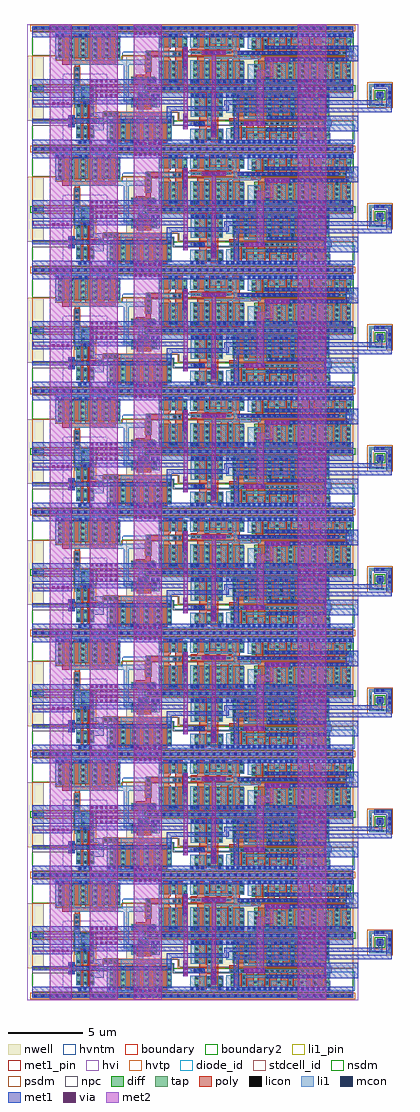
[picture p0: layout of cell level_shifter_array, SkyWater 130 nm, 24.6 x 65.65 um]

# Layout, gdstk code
import gdstk
lib = gdstk.Library(unit=1e-6, precision=1e-09)
def R(c, l, rs):  # rectangles x0, y0, x1, y1
    for r in rs: c.add(gdstk.rectangle(r[:2], r[2:], *l))
def A(c, l, x, y, w, h, nx, ny, dx, dy):  # array of equal rectangles
    R(c, l, [(x+i*dx, y+j*dy, x+i*dx+w, y+j*dy+h) for i in range(nx) for j in range(ny)])
def P(c, l, *ps):  # polygons
    for p in ps: c.add(gdstk.Polygon(p, *l))
nwell = (64, 20)
diff = (65, 20)
tap = (65, 44)
poly = (66, 20)
licon = (66, 44)
li1_pin = (67, 16)
li1 = (67, 20)
mcon = (67, 44)
met1_pin = (68, 16)
met1 = (68, 20)
via = (68, 44)
met2 = (69, 20)
hvi = (75, 20)
hvtp = (78, 44)
stdcell_id = (81, 4)
diode_id = (81, 23)
nsdm = (93, 44)
psdm = (94, 20)
npc = (95, 20)
hvntm = (125, 20)
boundary = (235, 4)
boundary2 = (236, 0)

sky130_fd_sc_hvl__lsbufl = lib.new_cell('sky130_fd_sc_hvl__lsbuflv2hv_1')
R(sky130_fd_sc_hvl__lsbufl, nwell, [(-0.33,1.885,0.8,6.255), (2.8,2.015,4.335,4.325)])
P(sky130_fd_sc_hvl__lsbufl, nwell, [(10.89,6.255),(6.335,6.255),(6.335,2.465),(9.8,2.465),(9.8,1.885),(10.89,1.885)])
R(sky130_fd_sc_hvl__lsbufl, diff, [(5.22,0.535,9.37,2.035), (2.985,0.755,4.155,1.595), (2.985,2.195,4.155,3.035), (6.665,4.425,8.255,4.845), (8.555,4.425,10.41,5.925), (1.755,6.105,5.905,7.605), (8.555,6.855,10.41,7.605)])
P(sky130_fd_sc_hvl__lsbufl, diff, [(8.395,3.445),(8.105,3.445),(8.105,3.235),(6.955,3.235),(6.955,3.445),(6.665,3.445),(6.665,2.815),(8.395,2.815)])
R(sky130_fd_sc_hvl__lsbufl, tap, [(0,-0.085,10.56,0.085), (3.265,3.305,4.155,4.145), (0,3.985,0.47,4.155), (7.715,3.985,10.56,4.155), (0,8.055,10.56,8.225)])
P(sky130_fd_sc_hvl__lsbufl, poly, [(3.43,3.165),(3.28,3.165),(3.28,2.035),(2.825,2.035),(2.825,2.2),(2.495,2.2),(2.495,1.53),(2.825,1.53),(2.825,1.705),(3.28,1.705),(3.28,0.625),(3.43,0.625)],
  [(10.145,7.735),(9.645,7.735),(9.645,6.555),(9.45,6.555),(9.45,6.225),(9.645,6.225),(9.645,4.295),(10.145,4.295)],
  [(9.32,6.055),(9.24,6.055),(9.24,6.725),(9.32,6.725),(9.32,7.735),(8.82,7.735),(8.82,6.555),(7.66,6.555),(7.66,4.975),(6.99,4.975),(6.99,4.295),(7.99,4.295),(7.99,6.225),(8.82,6.225),(8.82,4.295),(9.32,4.295)],
  [(9.105,2.475),(4.78,2.475),(4.78,2.145),(5.485,2.145),(5.485,0.405),(5.985,0.405),(5.985,2.145),(6.265,2.145),(6.265,0.405),(6.765,0.405),(6.765,2.145),(7.045,2.145),(7.045,0.405),(7.545,0.405),(7.545,2.145),(7.825,2.145),(7.825,0.405),(8.325,0.405),(8.325,2.145),(8.605,2.145),(8.605,0.405),(9.105,0.405)],
  [(8.03,3.365),(7.835,3.365),(7.835,3.725),(7.165,3.725),(7.165,3.365),(7.03,3.365),(7.03,2.685),(8.03,2.685)],
  [(5.64,7.735),(5.14,7.735),(5.14,5.995),(4.86,5.995),(4.86,7.735),(4.36,7.735),(4.36,5.995),(4.08,5.995),(4.08,7.735),(3.58,7.735),(3.58,5.995),(3.3,5.995),(3.3,7.735),(2.8,7.735),(2.8,5.995),(2.52,5.995),(2.52,7.735),(2.02,7.735),(2.02,5.665),(2.865,5.665),(2.865,4.485),(3.195,4.485),(3.195,5.665),(5.64,5.665)],
  [(4.31,2.035),(3.86,2.035),(3.86,3.165),(3.71,3.165),(3.71,2.035),(3.64,2.035),(3.64,1.705),(3.71,1.705),(3.71,0.625),(3.86,0.625),(3.86,1.705),(4.31,1.705)])
A(sky130_fd_sc_hvl__lsbufl, licon, 0.155, -0.085, 0.17, 0.17, 22, 2, 0.48, 8.14)
A(sky130_fd_sc_hvl__lsbufl, licon, 5.26, 0.595, 0.17, 0.17, 6, 2, 0.78, 0.4)
A(sky130_fd_sc_hvl__lsbufl, licon, 3.055, 1.325, 0.17, 0.17, 3, 2, 0.43, 0.92)
A(sky130_fd_sc_hvl__lsbufl, licon, 5.26, 1.405, 0.17, 0.17, 6, 2, 0.78, 0.4)
A(sky130_fd_sc_hvl__lsbufl, licon, 4.86, 2.225, 0.17, 0.17, 3, 1, 0.34, 0)
A(sky130_fd_sc_hvl__lsbufl, licon, 7.835, 3.985, 0.17, 0.17, 6, 1, 0.48, 0)
A(sky130_fd_sc_hvl__lsbufl, licon, 2.945, 4.565, 0.17, 0.17, 1, 3, 0, 0.34)
A(sky130_fd_sc_hvl__lsbufl, licon, 7.74, 5.285, 0.17, 0.17, 1, 4, 0, 0.34)
A(sky130_fd_sc_hvl__lsbufl, licon, 1.795, 6.165, 0.17, 0.17, 6, 2, 0.78, 0.4)
A(sky130_fd_sc_hvl__lsbufl, licon, 1.795, 6.975, 0.17, 0.17, 6, 2, 0.78, 0.4)
R(sky130_fd_sc_hvl__lsbufl, licon, [(3.485,0.795,3.655,0.965), (3.055,0.815,3.225,0.985), (3.915,0.815,4.085,0.985), (2.575,1.61,2.745,1.78), (3.72,1.785,3.89,1.955), (4.06,1.785,4.23,1.955), (2.575,1.95,2.745,2.12), (3.915,2.655,4.085,2.825), (3.055,2.805,3.225,2.975), (3.485,2.805,3.655,2.975), (6.805,2.875,6.975,3.045), (8.085,2.875,8.255,3.045), (6.745,3.215,6.915,3.385), (8.145,3.215,8.315,3.385), (3.385,3.4,3.555,3.57), (3.865,3.4,4.035,3.57), (7.245,3.475,7.415,3.645), (7.585,3.475,7.755,3.645), (3.385,3.95,3.555,4.12), (3.865,3.95,4.035,4.12), (0.155,3.985,0.325,4.155), (8.595,4.485,8.765,4.655), (9.42,4.485,9.59,4.655), (10.2,4.485,10.37,4.655), (6.765,4.55,6.935,4.72), (8.045,4.55,8.215,4.72), (8.595,4.885,8.765,5.055), (9.42,4.885,9.59,5.055), (10.2,4.885,10.37,5.055), (8.595,5.295,8.765,5.465), (9.42,5.295,9.59,5.465), (10.2,5.295,10.37,5.465), (8.595,5.695,8.765,5.865), (9.42,5.695,9.59,5.865), (10.2,5.695,10.37,5.865), (9.53,6.305,9.7,6.475), (9.87,6.305,10.04,6.475), (8.595,6.915,8.765,7.085), (9.42,6.915,9.59,7.085), (10.2,6.915,10.37,7.085), (8.595,7.375,8.765,7.545), (9.42,7.375,9.59,7.545), (10.2,7.375,10.37,7.545)])
A(sky130_fd_sc_hvl__lsbufl, li1_pin, 10.235, 5.28, 0.17, 0.17, 1, 5, 0, 0.37)
R(sky130_fd_sc_hvl__lsbufl, li1_pin, [(2.555,1.58,2.725,1.75), (2.555,1.95,2.725,2.12)])
R(sky130_fd_sc_hvl__lsbufl, li1, [(0,-0.085,10.56,0.085), (2.495,1.53,2.805,2.2), (8.005,2.795,8.595,3.705), (0,3.985,0.8,4.155), (7.755,3.985,10.56,4.155), (7.755,4.405,8.345,4.8), (9.21,4.405,9.8,5.945), (9.21,6.835,9.8,7.745), (0,8.055,10.56,8.225)])
P(sky130_fd_sc_hvl__lsbufl, li1, [(5.295,7.885),(1.585,7.885),(1.585,6.085),(2.175,6.085),(2.175,7.715),(3.145,7.715),(3.145,6.165),(3.735,6.165),(3.735,7.715),(4.705,7.715),(4.705,6.165),(5.295,6.165)],
  [(4.31,1.995),(3.265,1.995),(3.265,3.055),(3.175,3.055),(3.175,5.495),(2.885,5.495),(2.885,2.765),(2.975,2.765),(2.975,0.735),(3.265,0.735),(3.265,1.745),(4.31,1.745)],
  [(9.41,2.475),(7.495,2.475),(7.495,3.395),(7.835,3.395),(7.835,3.805),(7.495,3.805),(7.495,4.8),(6.685,4.8),(6.685,4.47),(7.165,4.47),(7.165,2.475),(5.96,2.475),(5.96,0.595),(6.29,0.595),(6.29,2.145),(7.52,2.145),(7.52,0.595),(7.85,0.595),(7.85,2.145),(9.08,2.145),(9.08,0.515),(9.41,0.515)],
  [(8.76,1.975),(8.17,1.975),(8.17,0.425),(7.2,0.425),(7.2,1.975),(6.61,1.975),(6.61,0.425),(5.64,0.425),(5.64,1.975),(5.05,1.975),(5.05,0.255),(8.76,0.255)],
  [(4.045,0.565),(3.705,0.565),(3.705,1.575),(3.435,1.575),(3.435,0.565),(3.095,0.565),(3.095,0.335),(4.045,0.335)],
  [(10.04,6.555),(8.845,6.555),(8.845,7.625),(8.515,7.625),(8.515,4.405),(8.845,4.405),(8.845,6.225),(10.04,6.225)],
  [(7.99,6.555),(7.66,6.555),(7.66,5.995),(5.945,5.995),(5.945,7.625),(5.615,7.625),(5.615,5.995),(4.385,5.995),(4.385,7.545),(4.055,7.545),(4.055,5.995),(2.825,5.995),(2.825,7.545),(2.495,7.545),(2.495,5.665),(6.185,5.665),(6.185,3.135),(6.665,3.135),(6.665,2.795),(6.995,2.795),(6.995,3.465),(6.515,3.465),(6.515,5.665),(7.66,5.665),(7.66,5.205),(7.99,5.205)],
  [(5.79,2.475),(4.185,2.475),(4.185,2.905),(3.875,2.905),(3.875,2.165),(4.48,2.165),(4.48,1.575),(3.875,1.575),(3.875,0.735),(4.185,0.735),(4.185,1.245),(4.81,1.245),(4.81,2.145),(5.79,2.145)],
  [(4.115,4.2),(3.345,4.2),(3.345,3.225),(3.435,3.225),(3.435,2.165),(3.705,2.165),(3.705,3.075),(4.115,3.075)],
  [(10.45,7.625),(10.12,7.625),(10.12,6.725),(10.21,6.725),(10.21,6.055),(10.12,6.055),(10.12,4.405),(10.45,4.405)])
A(sky130_fd_sc_hvl__lsbufl, mcon, 0.155, -0.085, 0.17, 0.17, 22, 2, 0.48, 8.14)
A(sky130_fd_sc_hvl__lsbufl, mcon, 7.835, 3.985, 0.17, 0.17, 6, 1, 0.48, 0)
R(sky130_fd_sc_hvl__lsbufl, mcon, [(3.125,0.365,3.295,0.535), (3.845,0.365,4.015,0.535), (3.485,0.425,3.655,0.595), (5.08,0.425,5.25,0.595), (5.44,0.425,5.61,0.595), (6.64,0.425,6.81,0.595), (7,0.425,7.17,0.595), (8.2,0.425,8.37,0.595), (8.56,0.425,8.73,0.595), (3.485,3.05,3.655,3.22), (3.845,3.105,4.015,3.275), (8.035,3.475,8.205,3.645), (8.395,3.475,8.565,3.645), (0.155,3.985,0.325,4.155), (7.785,4.495,7.955,4.665), (8.145,4.495,8.315,4.665), (9.24,4.495,9.41,4.665), (9.6,4.495,9.77,4.665), (1.615,7.545,1.785,7.715), (1.975,7.545,2.145,7.715), (3.175,7.545,3.345,7.715), (3.535,7.545,3.705,7.715), (4.735,7.545,4.905,7.715), (5.095,7.545,5.265,7.715), (9.24,7.545,9.41,7.715), (9.6,7.545,9.77,7.715)])
R(sky130_fd_sc_hvl__lsbufl, met1_pin, [(0,0,10.56,0.115), (0,0.255,10.56,0.625), (0.07,3.02,10.49,3.305), (0,3.445,10.56,3.815), (0,3.955,10.56,4.185), (0,4.325,10.56,4.695), (0,7.515,10.56,7.885), (0,8.025,10.56,8.14)])
A(sky130_fd_sc_hvl__lsbufl, met1, 0, -0.115, 10.56, 0.23, 1, 3, 0, 4.07)
R(sky130_fd_sc_hvl__lsbufl, met1, [(0,0.255,10.56,0.625), (0.07,3.02,10.49,3.305), (0,3.445,10.56,3.815), (0,4.325,10.56,4.695), (0,7.515,10.56,7.885)])
P(sky130_fd_sc_hvl__lsbufl, hvi, [(10.89,8.405),(5.035,8.405),(5.035,0.575),(2.095,0.575),(2.095,5.035),(5.035,5.035),(5.035,8.405),(-0.33,8.405),(-0.33,-0.265),(10.89,-0.265)])
R(sky130_fd_sc_hvl__lsbufl, hvtp, [(2.805,2.015,4.335,3.215)])
R(sky130_fd_sc_hvl__lsbufl, stdcell_id, [(0,0,10.56,8.14)])
R(sky130_fd_sc_hvl__lsbufl, nsdm, [(2.8,3.175,4.335,4.275), (-0.13,3.855,0.8,4.285), (7.585,3.855,10.69,4.285)])
P(sky130_fd_sc_hvl__lsbufl, nsdm, [(10.56,7.925),(0,7.925),(0,6.255),(1.625,6.255),(1.625,5.975),(6.035,5.975),(6.035,6.255),(10.56,6.255)],
  [(10.56,1.885),(9.5,1.885),(9.5,2.165),(5.09,2.165),(5.09,1.885),(0,1.885),(0,0.215),(10.56,0.215)])
R(sky130_fd_sc_hvl__lsbufl, psdm, [(-0.13,-0.215,10.69,0.215), (-0.13,7.925,10.69,8.355)])
P(sky130_fd_sc_hvl__lsbufl, psdm, [(10.56,6.255),(10.15,6.255),(10.15,6.195),(8.02,6.195),(8.02,5.175),(7.63,5.175),(7.63,6.255),(6.035,6.255),(6.035,5.975),(1.625,5.975),(1.625,6.255),(0,6.255),(0,4.285),(2.835,4.285),(2.835,5.525),(3.225,5.525),(3.225,4.285),(10.56,4.285)],
  [(10.56,3.855),(7.865,3.855),(7.865,3.365),(7.135,3.365),(7.135,3.855),(4.335,3.855),(4.335,3.175),(2.8,3.175),(2.8,3.855),(0,3.855),(0,1.885),(2.465,1.885),(2.465,2.23),(2.855,2.23),(2.855,2.065),(4.75,2.065),(4.75,2.505),(5.82,2.505),(5.82,2.465),(9.8,2.465),(9.8,1.885),(10.56,1.885)])
R(sky130_fd_sc_hvl__lsbufl, npc, [(7.145,3.375,7.855,3.745), (2.845,4.465,3.215,5.515)])
P(sky130_fd_sc_hvl__lsbufl, npc, [(10.56,6.595),(7.64,6.595),(7.64,5.185),(8.01,5.185),(8.01,6.17),(10.56,6.17)],
  [(10.56,1.97),(9.885,1.97),(9.885,2.47),(5.81,2.47),(5.81,2.495),(4.76,2.495),(4.76,2.055),(2.845,2.055),(2.845,2.22),(2.475,2.22),(2.475,1.97),(0,1.97),(0,1.545),(2.475,1.545),(2.475,1.51),(2.845,1.51),(2.845,1.685),(5.13,1.685),(5.13,2.125),(9.46,2.125),(9.46,1.545),(10.56,1.545)])
P(sky130_fd_sc_hvl__lsbufl, hvntm, [(10.595,1.64),(9.555,1.64),(9.555,2.22),(5.035,2.22),(5.035,0.35),(10.595,0.35)],
  [(10.595,7.79),(1.57,7.79),(1.57,5.92),(6.09,5.92),(6.09,6.5),(10.595,6.5)])
R(sky130_fd_sc_hvl__lsbufl, boundary2, [(0,0,10.56,8.14)])
sky130_fd_sc_hvl__lsbufl.add(gdstk.Label('lsbuflv2hv_1', (0,0), layer=83, texttype=44))
sky130_fd_sc_hvl__lsbufl.add(gdstk.Label('VPWR', (4.8,4.51), layer=68, texttype=5))
sky130_fd_sc_hvl__lsbufl.add(gdstk.Label('VPWR', (4.8,3.63), layer=68, texttype=5))
sky130_fd_sc_hvl__lsbufl.add(gdstk.Label('VGND', (4.7,7.7), layer=68, texttype=5))
sky130_fd_sc_hvl__lsbufl.add(gdstk.Label('VGND', (4.8,0.44), layer=68, texttype=5))
sky130_fd_sc_hvl__lsbufl.add(gdstk.Label('VNB', (4.8,0.058), layer=68, texttype=5))
sky130_fd_sc_hvl__lsbufl.add(gdstk.Label('LVPWR', (4.8,3.165), layer=68, texttype=5))
sky130_fd_sc_hvl__lsbufl.add(gdstk.Label('VPB', (4.8,4.068), layer=68, texttype=5))
sky130_fd_sc_hvl__lsbufl.add(gdstk.Label('VNB', (4.8,8.082), layer=68, texttype=5))
sky130_fd_sc_hvl__lsbufl.add(gdstk.Label('A', (2.64,2.035), layer=67, texttype=5))
sky130_fd_sc_hvl__lsbufl.add(gdstk.Label('A', (2.64,1.665), layer=67, texttype=5))
sky130_fd_sc_hvl__lsbufl.add(gdstk.Label('X', (10.32,6.105), layer=67, texttype=5))
sky130_fd_sc_hvl__lsbufl.add(gdstk.Label('X', (10.32,5.735), layer=67, texttype=5))
sky130_fd_sc_hvl__lsbufl.add(gdstk.Label('X', (10.32,5.365), layer=67, texttype=5))
sky130_fd_sc_hvl__lsbufl.add(gdstk.Label('X', (10.32,6.475), layer=67, texttype=5))
sky130_fd_sc_hvl__lsbufl.add(gdstk.Label('X', (10.32,6.845), layer=67, texttype=5))

sky130_fd_sc_hvl__inv_8 = lib.new_cell('sky130_fd_sc_hvl__inv_8')
R(sky130_fd_sc_hvl__inv_8, nwell, [(-0.33,1.885,7.53,4.485)])
R(sky130_fd_sc_hvl__inv_8, diff, [(0.395,0.705,7.035,1.455), (0.535,2.215,7.025,3.715)])
R(sky130_fd_sc_hvl__inv_8, tap, [(0,-0.085,7.2,0.085), (0,3.985,7.2,4.155)])
P(sky130_fd_sc_hvl__inv_8, poly, [(6.76,3.845),(6.26,3.845),(6.26,2.065),(5.98,2.065),(5.98,3.845),(5.48,3.845),(5.48,2.065),(5.2,2.065),(5.2,3.845),(4.7,3.845),(4.7,2.065),(4.42,2.065),(4.42,3.845),(3.92,3.845),(3.92,2.065),(3.64,2.065),(3.64,3.845),(3.14,3.845),(3.14,2.065),(2.86,2.065),(2.86,3.845),(2.36,3.845),(2.36,2.065),(2.08,2.065),(2.08,3.845),(1.58,3.845),(1.58,2.065),(1.3,2.065),(1.3,3.845),(0.8,3.845),(0.8,2.065),(0.31,2.065),(0.31,1.565),(0.66,1.565),(0.66,0.575),(1.16,0.575),(1.16,1.565),(1.44,1.565),(1.44,0.575),(1.94,0.575),(1.94,1.565),(2.22,1.565),(2.22,0.575),(2.72,0.575),(2.72,1.565),(3,1.565),(3,0.575),(3.5,0.575),(3.5,1.565),(3.78,1.565),(3.78,0.575),(4.28,0.575),(4.28,1.565),(4.56,1.565),(4.56,0.575),(5.06,0.575),(5.06,1.565),(5.48,1.565),(5.48,0.575),(5.98,0.575),(5.98,1.565),(6.26,1.565),(6.26,0.575),(6.76,0.575)])
A(sky130_fd_sc_hvl__inv_8, licon, 0.155, -0.085, 0.17, 0.17, 15, 2, 0.48, 4.07)
A(sky130_fd_sc_hvl__inv_8, licon, 1.215, 0.81, 0.17, 0.17, 3, 2, 1.56, 0.34)
A(sky130_fd_sc_hvl__inv_8, licon, 0.435, 0.855, 0.17, 0.17, 4, 1, 1.56, 0)
A(sky130_fd_sc_hvl__inv_8, licon, 0.39, 1.645, 0.17, 0.17, 19, 1, 0.34, 0)
A(sky130_fd_sc_hvl__inv_8, licon, 1.355, 2.255, 0.17, 0.17, 4, 4, 1.56, 0.34)
A(sky130_fd_sc_hvl__inv_8, licon, 0.575, 2.465, 0.17, 0.17, 5, 4, 1.56, 0.34)
R(sky130_fd_sc_hvl__inv_8, licon, [(6.035,0.81,6.205,0.98), (6.825,0.855,6.995,1.025), (6.035,1.15,6.205,1.32), (0.435,1.195,0.605,1.365)])
A(sky130_fd_sc_hvl__inv_8, li1_pin, 1.595, 1.58, 0.17, 0.17, 7, 1, 0.48, 0)
R(sky130_fd_sc_hvl__inv_8, li1_pin, [(5.915,0.84,6.085,1.01), (6.395,0.84,6.565,1.01)])
R(sky130_fd_sc_hvl__inv_8, li1, [(0,-0.085,7.2,0.085), (0.31,1.58,6.76,1.815), (0,3.985,7.2,4.155)])
P(sky130_fd_sc_hvl__inv_8, li1, [(7.025,3.795),(0.095,3.795),(0.095,2.445),(0.985,2.445),(0.985,3.625),(1.775,3.625),(1.775,2.385),(2.665,2.385),(2.665,3.625),(3.335,3.625),(3.335,2.385),(4.225,2.385),(4.225,3.625),(4.895,3.625),(4.895,2.385),(5.785,2.385),(5.785,3.625),(6.455,3.625),(6.455,2.385),(7.025,2.385)],
  [(7.105,1.045),(6.735,1.045),(6.735,0.55),(5.745,0.55),(5.745,1.045),(4.695,1.045),(4.695,0.55),(4.145,0.55),(4.145,1.045),(3.135,1.045),(3.135,0.55),(2.585,0.55),(2.585,1.045),(1.575,1.045),(1.575,0.55),(0.985,0.55),(0.985,1.385),(0.095,1.385),(0.095,0.38),(7.105,0.38)],
  [(7.11,2.205),(6.285,2.205),(6.285,3.445),(5.955,3.445),(5.955,2.205),(4.725,2.205),(4.725,3.445),(4.395,3.445),(4.395,2.205),(3.165,2.205),(3.165,3.445),(2.835,3.445),(2.835,2.205),(1.605,2.205),(1.605,3.445),(1.275,3.445),(1.275,2.035),(6.94,2.035),(6.94,1.395),(6.225,1.395),(6.225,1.4),(1.195,1.4),(1.195,0.73),(1.405,0.73),(1.405,1.23),(2.755,1.23),(2.755,0.73),(2.965,0.73),(2.965,1.23),(4.315,1.23),(4.315,0.73),(4.525,0.73),(4.525,1.23),(5.915,1.23),(5.915,0.73),(6.565,0.73),(6.565,1.225),(7.11,1.225)])
A(sky130_fd_sc_hvl__inv_8, mcon, 0.095, 0.38, 0.17, 0.17, 20, 1, 0.36, 0)
A(sky130_fd_sc_hvl__inv_8, mcon, 0.095, 3.475, 0.17, 0.17, 3, 1, 0.36, 0)
A(sky130_fd_sc_hvl__inv_8, mcon, 1.775, 3.475, 0.17, 0.17, 3, 1, 0.36, 0)
A(sky130_fd_sc_hvl__inv_8, mcon, 3.335, 3.475, 0.17, 0.17, 3, 1, 0.36, 0)
A(sky130_fd_sc_hvl__inv_8, mcon, 4.895, 3.475, 0.17, 0.17, 3, 1, 0.36, 0)
R(sky130_fd_sc_hvl__inv_8, mcon, [(0.155,-0.085,0.325,0.085), (0.155,-0.085,0.325,0.085), (0.635,-0.085,0.805,0.085), (0.635,-0.085,0.805,0.085), (1.115,-0.085,1.285,0.085), (1.115,-0.085,1.285,0.085), (1.595,-0.085,1.765,0.085), (1.595,-0.085,1.765,0.085), (2.075,-0.085,2.245,0.085), (2.075,-0.085,2.245,0.085), (2.555,-0.085,2.725,0.085), (2.555,-0.085,2.725,0.085), (3.035,-0.085,3.205,0.085), (3.035,-0.085,3.205,0.085), (3.515,-0.085,3.685,0.085), (3.515,-0.085,3.685,0.085), (3.995,-0.085,4.165,0.085), (3.995,-0.085,4.165,0.085), (4.475,-0.085,4.645,0.085), (4.475,-0.085,4.645,0.085), (4.955,-0.085,5.125,0.085), (4.955,-0.085,5.125,0.085), (5.435,-0.085,5.605,0.085), (5.435,-0.085,5.605,0.085), (5.915,-0.085,6.085,0.085), (5.915,-0.085,6.085,0.085), (6.395,-0.085,6.565,0.085), (6.395,-0.085,6.565,0.085), (6.875,-0.085,7.045,0.085), (6.875,-0.085,7.045,0.085), (6.455,3.475,6.625,3.645), (6.855,3.475,7.025,3.645), (0.155,3.985,0.325,4.155), (0.155,3.985,0.325,4.155), (0.635,3.985,0.805,4.155), (0.635,3.985,0.805,4.155), (1.115,3.985,1.285,4.155), (1.115,3.985,1.285,4.155), (1.595,3.985,1.765,4.155), (1.595,3.985,1.765,4.155), (2.075,3.985,2.245,4.155), (2.075,3.985,2.245,4.155), (2.555,3.985,2.725,4.155), (2.555,3.985,2.725,4.155), (3.035,3.985,3.205,4.155), (3.035,3.985,3.205,4.155), (3.515,3.985,3.685,4.155), (3.515,3.985,3.685,4.155), (3.995,3.985,4.165,4.155), (3.995,3.985,4.165,4.155), (4.475,3.985,4.645,4.155), (4.475,3.985,4.645,4.155), (4.955,3.985,5.125,4.155), (4.955,3.985,5.125,4.155), (5.435,3.985,5.605,4.155), (5.435,3.985,5.605,4.155), (5.915,3.985,6.085,4.155), (5.915,3.985,6.085,4.155), (6.395,3.985,6.565,4.155), (6.395,3.985,6.565,4.155), (6.875,3.985,7.045,4.155), (6.875,3.985,7.045,4.155)])
R(sky130_fd_sc_hvl__inv_8, met1_pin, [(0,0,7.2,0.115), (0,0,7.2,0.115), (0,0.255,7.2,0.625), (0,3.445,7.2,3.815), (0,3.955,7.2,4.07), (0,3.955,7.2,4.07)])
R(sky130_fd_sc_hvl__inv_8, met1, [(0,-0.115,7.2,0.115), (0,0.255,7.2,0.625), (0,3.445,7.2,3.815), (0,3.955,7.2,4.185)])
R(sky130_fd_sc_hvl__inv_8, hvi, [(-0.33,-0.265,7.53,4.485)])
R(sky130_fd_sc_hvl__inv_8, stdcell_id, [(0,0,7.2,4.07)])
R(sky130_fd_sc_hvl__inv_8, nsdm, [(0,0.215,7.2,1.885), (-0.13,3.855,7.33,4.285), (0,3.855,7.2,4.07)])
R(sky130_fd_sc_hvl__inv_8, psdm, [(-0.13,-0.215,7.33,0.215)])
P(sky130_fd_sc_hvl__inv_8, psdm, [(7.2,3.855),(0,3.855),(0,1.925),(6.79,1.925),(6.79,1.885),(7.2,1.885)])
R(sky130_fd_sc_hvl__inv_8, npc, [(0,1.545,7.2,1.97)])
R(sky130_fd_sc_hvl__inv_8, hvntm, [(-0.035,0.35,7.235,1.64)])
R(sky130_fd_sc_hvl__inv_8, boundary2, [(0,0,7.2,4.07)])
sky130_fd_sc_hvl__inv_8.add(gdstk.Label('inv_8', (0,0), layer=83, texttype=44))
sky130_fd_sc_hvl__inv_8.add(gdstk.Label('VNB', (3.6,0.058), layer=68, texttype=5))
sky130_fd_sc_hvl__inv_8.add(gdstk.Label('VGND', (3.6,0.44), layer=68, texttype=5))
sky130_fd_sc_hvl__inv_8.add(gdstk.Label('VNB', (3.6,0.058), layer=68, texttype=5))
sky130_fd_sc_hvl__inv_8.add(gdstk.Label('VPWR', (3.6,3.63), layer=68, texttype=5))
sky130_fd_sc_hvl__inv_8.add(gdstk.Label('VPB', (3.6,4.013), layer=68, texttype=5))
sky130_fd_sc_hvl__inv_8.add(gdstk.Label('VPB', (3.6,4.013), layer=68, texttype=5))
sky130_fd_sc_hvl__inv_8.add(gdstk.Label('Y', (6,0.925), layer=67, texttype=5))
sky130_fd_sc_hvl__inv_8.add(gdstk.Label('Y', (6.48,0.925), layer=67, texttype=5))
sky130_fd_sc_hvl__inv_8.add(gdstk.Label('A', (1.68,1.665), layer=67, texttype=5))
sky130_fd_sc_hvl__inv_8.add(gdstk.Label('A', (2.16,1.665), layer=67, texttype=5))
sky130_fd_sc_hvl__inv_8.add(gdstk.Label('A', (2.64,1.665), layer=67, texttype=5))
sky130_fd_sc_hvl__inv_8.add(gdstk.Label('A', (3.12,1.665), layer=67, texttype=5))
sky130_fd_sc_hvl__inv_8.add(gdstk.Label('A', (3.6,1.665), layer=67, texttype=5))
sky130_fd_sc_hvl__inv_8.add(gdstk.Label('A', (4.08,1.665), layer=67, texttype=5))
sky130_fd_sc_hvl__inv_8.add(gdstk.Label('A', (4.56,1.665), layer=67, texttype=5))

sky130_fd_sc_hvl__inv_4 = lib.new_cell('sky130_fd_sc_hvl__inv_4')
R(sky130_fd_sc_hvl__inv_4, nwell, [(-0.33,1.885,4.17,4.485)])
R(sky130_fd_sc_hvl__inv_4, diff, [(0.28,0.535,3.69,1.285), (0.28,2.215,3.69,3.715)])
R(sky130_fd_sc_hvl__inv_4, tap, [(0,-0.085,3.84,0.085), (0,3.985,3.84,4.155)])
P(sky130_fd_sc_hvl__inv_4, poly, [(3.405,3.845),(2.905,3.845),(2.905,2.085),(2.625,2.085),(2.625,3.845),(2.125,3.845),(2.125,2.085),(1.845,2.085),(1.845,3.845),(1.345,3.845),(1.345,2.085),(1.065,2.085),(1.065,3.845),(0.565,3.845),(0.565,1.87),(0.105,1.87),(0.105,1.415),(0.565,1.415),(0.565,0.405),(1.065,0.405),(1.065,1.415),(1.345,1.415),(1.345,0.405),(1.845,0.405),(1.845,1.415),(2.125,1.415),(2.125,0.405),(2.625,0.405),(2.625,1.415),(2.905,1.415),(2.905,0.405),(3.405,0.405)])
A(sky130_fd_sc_hvl__inv_4, licon, 0.155, -0.085, 0.17, 0.17, 8, 2, 0.48, 4.07)
A(sky130_fd_sc_hvl__inv_4, licon, 0.205, 1.58, 0.17, 0.17, 8, 1, 0.34, 0)
A(sky130_fd_sc_hvl__inv_4, licon, 0.34, 3.505, 0.17, 0.17, 5, 1, 0.78, 0)
R(sky130_fd_sc_hvl__inv_4, licon, [(0.34,0.575,0.51,0.745), (1.12,0.575,1.29,0.745), (2.68,0.575,2.85,0.745), (3.46,0.575,3.63,0.745), (1.9,0.725,2.07,0.895), (0.34,1.075,0.51,1.245), (1.12,1.075,1.29,1.245), (2.68,1.075,2.85,1.245), (3.46,1.075,3.63,1.245), (0.34,2.255,0.51,2.425), (1.12,2.255,1.29,2.425), (2.68,2.255,2.85,2.425), (1.9,2.28,2.07,2.45), (3.46,2.28,3.63,2.45), (0.34,2.67,0.51,2.84), (1.12,2.67,1.29,2.84), (2.68,2.67,2.85,2.84), (1.9,2.685,2.07,2.855), (3.46,2.685,3.63,2.855), (0.34,3.09,0.51,3.26), (1.12,3.09,1.29,3.26), (2.68,3.09,2.85,3.26), (1.9,3.1,2.07,3.27), (3.46,3.1,3.63,3.27)])
A(sky130_fd_sc_hvl__inv_4, li1_pin, 0.155, 1.58, 0.17, 0.17, 8, 1, 0.48, 0)
R(sky130_fd_sc_hvl__inv_4, li1, [(0,-0.085,3.84,0.085), (0.09,0.365,0.68,1.325), (1.47,0.365,2.42,1.05), (3.38,0.365,3.71,1.325), (0.125,1.58,2.835,1.75), (0.09,2.175,0.68,3.755), (1.55,2.28,2.5,3.755), (3.12,2.28,3.71,3.755), (0,3.985,3.84,4.155)])
P(sky130_fd_sc_hvl__inv_4, li1, [(3.715,2.1),(2.93,2.1),(2.93,3.755),(2.68,3.755),(2.68,2.1),(1.37,2.1),(1.37,3.755),(1.04,3.755),(1.04,1.93),(3.015,1.93),(3.015,1.4),(1.04,1.4),(1.04,0.495),(1.29,0.495),(1.29,1.23),(2.6,1.23),(2.6,0.495),(3.185,0.495),(3.185,1.55),(3.715,1.55)])
A(sky130_fd_sc_hvl__inv_4, mcon, 1.5, 0.395, 0.17, 0.17, 3, 1, 0.36, 0)
A(sky130_fd_sc_hvl__inv_4, mcon, 1.58, 3.505, 0.17, 0.17, 3, 1, 0.36, 0)
R(sky130_fd_sc_hvl__inv_4, mcon, [(0.155,-0.085,0.325,0.085), (0.155,-0.085,0.325,0.085), (0.635,-0.085,0.805,0.085), (0.635,-0.085,0.805,0.085), (1.115,-0.085,1.285,0.085), (1.115,-0.085,1.285,0.085), (1.595,-0.085,1.765,0.085), (1.595,-0.085,1.765,0.085), (2.075,-0.085,2.245,0.085), (2.075,-0.085,2.245,0.085), (2.555,-0.085,2.725,0.085), (2.555,-0.085,2.725,0.085), (3.035,-0.085,3.205,0.085), (3.035,-0.085,3.205,0.085), (3.515,-0.085,3.685,0.085), (3.515,-0.085,3.685,0.085), (0.12,0.395,0.29,0.565), (0.48,0.395,0.65,0.565), (3.41,0.395,3.58,0.565), (0.12,3.505,0.29,3.675), (0.48,3.505,0.65,3.675), (3.15,3.505,3.32,3.675), (3.51,3.505,3.68,3.675), (0.155,3.985,0.325,4.155), (0.155,3.985,0.325,4.155), (0.635,3.985,0.805,4.155), (0.635,3.985,0.805,4.155), (1.115,3.985,1.285,4.155), (1.115,3.985,1.285,4.155), (1.595,3.985,1.765,4.155), (1.595,3.985,1.765,4.155), (2.075,3.985,2.245,4.155), (2.075,3.985,2.245,4.155), (2.555,3.985,2.725,4.155), (2.555,3.985,2.725,4.155), (3.035,3.985,3.205,4.155), (3.035,3.985,3.205,4.155), (3.515,3.985,3.685,4.155), (3.515,3.985,3.685,4.155)])
R(sky130_fd_sc_hvl__inv_4, met1_pin, [(0,0,3.84,0.115), (0,0.255,3.84,0.625), (0,3.445,3.84,3.815), (0,3.955,3.84,4.07)])
R(sky130_fd_sc_hvl__inv_4, met1, [(0,-0.115,3.84,0.115), (0,0.255,3.84,0.625), (0,3.445,3.84,3.815), (0,3.955,3.84,4.185)])
R(sky130_fd_sc_hvl__inv_4, hvi, [(-0.33,-0.265,4.17,4.485)])
R(sky130_fd_sc_hvl__inv_4, stdcell_id, [(0,0,3.84,4.07)])
R(sky130_fd_sc_hvl__inv_4, nsdm, [(0,0.215,3.84,1.885), (-0.13,3.855,3.97,4.285), (0,3.855,3.84,4.07)])
R(sky130_fd_sc_hvl__inv_4, psdm, [(-0.13,-0.215,3.97,0.215), (0,1.885,3.84,3.855)])
P(sky130_fd_sc_hvl__inv_4, npc, [(3.84,1.97),(0,1.97),(0,1.48),(2.855,1.48),(2.855,1.545),(3.84,1.545)])
R(sky130_fd_sc_hvl__inv_4, hvntm, [(-0.035,0.35,3.875,1.64)])
R(sky130_fd_sc_hvl__inv_4, boundary2, [(0,0,3.84,4.07)])
sky130_fd_sc_hvl__inv_4.add(gdstk.Label('inv_4', (0,0), layer=83, texttype=44))
sky130_fd_sc_hvl__inv_4.add(gdstk.Label('VGND', (1.92,0.44), layer=68, texttype=5))
sky130_fd_sc_hvl__inv_4.add(gdstk.Label('VNB', (1.92,0.058), layer=68, texttype=5))
sky130_fd_sc_hvl__inv_4.add(gdstk.Label('VPWR', (1.92,3.63), layer=68, texttype=5))
sky130_fd_sc_hvl__inv_4.add(gdstk.Label('VPB', (1.92,4.013), layer=68, texttype=5))
sky130_fd_sc_hvl__inv_4.add(gdstk.Label('Y', (3.12,1.665), layer=67, texttype=5))
sky130_fd_sc_hvl__inv_4.add(gdstk.Label('Y', (3.6,1.665), layer=67, texttype=5))
sky130_fd_sc_hvl__inv_4.add(gdstk.Label('A', (0.24,1.665), layer=67, texttype=5))
sky130_fd_sc_hvl__inv_4.add(gdstk.Label('A', (0.72,1.665), layer=67, texttype=5))
sky130_fd_sc_hvl__inv_4.add(gdstk.Label('A', (1.2,1.665), layer=67, texttype=5))
sky130_fd_sc_hvl__inv_4.add(gdstk.Label('A', (1.68,1.665), layer=67, texttype=5))
sky130_fd_sc_hvl__inv_4.add(gdstk.Label('A', (2.16,1.665), layer=67, texttype=5))
sky130_fd_sc_hvl__inv_4.add(gdstk.Label('A', (2.64,1.665), layer=67, texttype=5))

sky130_fd_sc_hvl__inv_2 = lib.new_cell('sky130_fd_sc_hvl__inv_2')
R(sky130_fd_sc_hvl__inv_2, nwell, [(-0.33,1.885,2.73,4.485)])
R(sky130_fd_sc_hvl__inv_2, diff, [(0.4,0.58,2.25,1.33), (0.4,2.215,2.25,3.715)])
R(sky130_fd_sc_hvl__inv_2, tap, [(0,-0.085,2.4,0.085), (0,3.985,2.4,4.155)])
P(sky130_fd_sc_hvl__inv_2, poly, [(1.965,3.845),(1.465,3.845),(1.465,2.085),(1.185,2.085),(1.185,3.845),(0.685,3.845),(0.685,1.88),(0.4,1.88),(0.4,1.55),(0.685,1.55),(0.685,0.45),(1.185,0.45),(1.185,1.46),(1.465,1.46),(1.465,0.45),(1.965,0.45)])
A(sky130_fd_sc_hvl__inv_2, licon, 0.155, -0.085, 0.17, 0.17, 5, 2, 0.48, 4.07)
A(sky130_fd_sc_hvl__inv_2, licon, 0.46, 0.62, 0.17, 0.17, 3, 2, 0.78, 0.5)
A(sky130_fd_sc_hvl__inv_2, licon, 0.46, 2.255, 0.17, 0.17, 3, 2, 0.78, 0.415)
A(sky130_fd_sc_hvl__inv_2, licon, 0.46, 3.09, 0.17, 0.17, 3, 2, 0.78, 0.415)
R(sky130_fd_sc_hvl__inv_2, licon, [(0.48,1.63,0.65,1.8), (0.82,1.63,0.99,1.8)])
A(sky130_fd_sc_hvl__inv_2, li1_pin, 1.595, 0.84, 0.17, 0.17, 1, 3, 0, 0.37)
R(sky130_fd_sc_hvl__inv_2, li1_pin, [(0.155,1.58,0.325,1.75), (0.635,1.58,0.805,1.75)])
R(sky130_fd_sc_hvl__inv_2, li1, [(0,-0.085,2.4,0.085), (0.09,0.365,1.02,1.37), (1.98,0.365,2.31,1.37), (0.125,1.55,1.07,1.88), (0.11,2.175,1.06,3.755), (1.68,2.175,2.27,3.755), (0,3.985,2.4,4.155)])
P(sky130_fd_sc_hvl__inv_2, li1, [(1.795,1.78),(1.49,1.78),(1.49,3.755),(1.24,3.755),(1.24,1.61),(1.565,1.61),(1.565,1.37),(1.2,1.37),(1.2,0.54),(1.795,0.54)])
A(sky130_fd_sc_hvl__inv_2, mcon, 0.11, 0.395, 0.17, 0.17, 3, 1, 0.36, 0)
A(sky130_fd_sc_hvl__inv_2, mcon, 0.14, 3.505, 0.17, 0.17, 3, 1, 0.36, 0)
R(sky130_fd_sc_hvl__inv_2, mcon, [(0.155,-0.085,0.325,0.085), (0.155,-0.085,0.325,0.085), (0.635,-0.085,0.805,0.085), (0.635,-0.085,0.805,0.085), (1.115,-0.085,1.285,0.085), (1.115,-0.085,1.285,0.085), (1.595,-0.085,1.765,0.085), (1.595,-0.085,1.765,0.085), (2.075,-0.085,2.245,0.085), (2.075,-0.085,2.245,0.085), (2.01,0.395,2.18,0.565), (1.71,3.505,1.88,3.675), (2.07,3.505,2.24,3.675), (0.155,3.985,0.325,4.155), (0.155,3.985,0.325,4.155), (0.635,3.985,0.805,4.155), (0.635,3.985,0.805,4.155), (1.115,3.985,1.285,4.155), (1.115,3.985,1.285,4.155), (1.595,3.985,1.765,4.155), (1.595,3.985,1.765,4.155), (2.075,3.985,2.245,4.155), (2.075,3.985,2.245,4.155)])
R(sky130_fd_sc_hvl__inv_2, met1_pin, [(0,0,2.4,0.115), (0,0.255,2.4,0.625), (0,3.445,2.4,3.815), (0,3.955,2.4,4.07)])
R(sky130_fd_sc_hvl__inv_2, met1, [(0,-0.115,2.4,0.115), (0,0.255,2.4,0.625), (0,3.445,2.4,3.815), (0,3.955,2.4,4.185)])
R(sky130_fd_sc_hvl__inv_2, hvi, [(-0.33,-0.265,2.73,4.485)])
R(sky130_fd_sc_hvl__inv_2, stdcell_id, [(0,0,2.4,4.07)])
R(sky130_fd_sc_hvl__inv_2, nsdm, [(0,0.215,2.4,1.885), (-0.13,3.855,2.53,4.285), (0,3.855,2.4,4.07)])
R(sky130_fd_sc_hvl__inv_2, psdm, [(-0.13,-0.215,2.53,0.215)])
P(sky130_fd_sc_hvl__inv_2, psdm, [(2.4,3.855),(0,3.855),(0,1.91),(1.1,1.91),(1.1,1.885),(2.4,1.885)])
P(sky130_fd_sc_hvl__inv_2, npc, [(2.4,1.97),(0,1.97),(0,1.545),(0.38,1.545),(0.38,1.53),(1.09,1.53),(1.09,1.545),(2.4,1.545)])
R(sky130_fd_sc_hvl__inv_2, hvntm, [(-0.035,0.35,2.435,1.64)])
R(sky130_fd_sc_hvl__inv_2, boundary2, [(0,0,2.4,4.07)])
sky130_fd_sc_hvl__inv_2.add(gdstk.Label('inv_2', (0,0), layer=83, texttype=44))
sky130_fd_sc_hvl__inv_2.add(gdstk.Label('VGND', (1.2,0.44), layer=68, texttype=5))
sky130_fd_sc_hvl__inv_2.add(gdstk.Label('VNB', (1.2,0.058), layer=68, texttype=5))
sky130_fd_sc_hvl__inv_2.add(gdstk.Label('VPWR', (1.2,3.63), layer=68, texttype=5))
sky130_fd_sc_hvl__inv_2.add(gdstk.Label('VPB', (1.2,4.013), layer=68, texttype=5))
sky130_fd_sc_hvl__inv_2.add(gdstk.Label('A', (0.24,1.665), layer=67, texttype=5))
sky130_fd_sc_hvl__inv_2.add(gdstk.Label('A', (0.72,1.665), layer=67, texttype=5))
sky130_fd_sc_hvl__inv_2.add(gdstk.Label('Y', (1.68,0.925), layer=67, texttype=5))
sky130_fd_sc_hvl__inv_2.add(gdstk.Label('Y', (1.68,1.295), layer=67, texttype=5))
sky130_fd_sc_hvl__inv_2.add(gdstk.Label('Y', (1.68,1.665), layer=67, texttype=5))

sky130_fd_sc_hvl__fill_2 = lib.new_cell('sky130_fd_sc_hvl__fill_2')
R(sky130_fd_sc_hvl__fill_2, nwell, [(-0.33,1.885,1.29,4.485)])
R(sky130_fd_sc_hvl__fill_2, tap, [(0,-0.085,0.96,0.085), (0,3.985,0.96,4.155)])
R(sky130_fd_sc_hvl__fill_2, licon, [(0.155,-0.085,0.325,0.085), (0.635,-0.085,0.805,0.085), (0.155,3.985,0.325,4.155), (0.635,3.985,0.805,4.155)])
R(sky130_fd_sc_hvl__fill_2, li1, [(0,-0.085,0.96,0.085), (0,3.985,0.96,4.155)])
R(sky130_fd_sc_hvl__fill_2, mcon, [(0.155,-0.085,0.325,0.085), (0.155,-0.085,0.325,0.085), (0.635,-0.085,0.805,0.085), (0.635,-0.085,0.805,0.085), (0.155,3.985,0.325,4.155), (0.155,3.985,0.325,4.155), (0.635,3.985,0.805,4.155), (0.635,3.985,0.805,4.155)])
R(sky130_fd_sc_hvl__fill_2, met1_pin, [(0,0,0.96,0.115), (0,0,0.96,0.115), (0,0.255,0.96,0.625), (0,3.445,0.96,3.815), (0,3.955,0.96,4.07), (0,3.955,0.96,4.07)])
R(sky130_fd_sc_hvl__fill_2, met1, [(0,-0.115,0.96,0.115), (0,0.255,0.96,0.625), (0,3.445,0.96,3.815), (0,3.955,0.96,4.185)])
R(sky130_fd_sc_hvl__fill_2, hvi, [(-0.33,-0.265,1.29,4.485)])
R(sky130_fd_sc_hvl__fill_2, stdcell_id, [(0,0,0.96,4.07)])
R(sky130_fd_sc_hvl__fill_2, nsdm, [(0,0.215,0.96,1.885), (-0.13,3.855,1.09,4.285), (0,3.855,0.96,4.07)])
R(sky130_fd_sc_hvl__fill_2, psdm, [(-0.13,-0.215,1.09,0.215), (0,1.885,0.96,3.855)])
R(sky130_fd_sc_hvl__fill_2, hvntm, [(-0.035,0.35,0.995,1.64)])
R(sky130_fd_sc_hvl__fill_2, boundary2, [(0,0,0.96,4.07)])
sky130_fd_sc_hvl__fill_2.add(gdstk.Label('fill_2', (0,0), layer=83, texttype=44))
sky130_fd_sc_hvl__fill_2.add(gdstk.Label('VGND', (0.48,0.44), layer=68, texttype=5))
sky130_fd_sc_hvl__fill_2.add(gdstk.Label('VNB', (0.48,0.058), layer=68, texttype=5))
sky130_fd_sc_hvl__fill_2.add(gdstk.Label('VNB', (0.48,0.058), layer=68, texttype=5))
sky130_fd_sc_hvl__fill_2.add(gdstk.Label('VPWR', (0.48,3.63), layer=68, texttype=5))
sky130_fd_sc_hvl__fill_2.add(gdstk.Label('VPB', (0.48,4.013), layer=68, texttype=5))
sky130_fd_sc_hvl__fill_2.add(gdstk.Label('VPB', (0.48,4.013), layer=68, texttype=5))

sky130_fd_sc_hvl__fill_1 = lib.new_cell('sky130_fd_sc_hvl__fill_1')
R(sky130_fd_sc_hvl__fill_1, nwell, [(-0.33,1.885,0.81,4.485)])
R(sky130_fd_sc_hvl__fill_1, tap, [(0,-0.085,0.48,0.085), (0,3.985,0.48,4.155)])
R(sky130_fd_sc_hvl__fill_1, licon, [(0.155,-0.085,0.325,0.085), (0.155,3.985,0.325,4.155)])
R(sky130_fd_sc_hvl__fill_1, li1, [(0,-0.085,0.48,0.085), (0,3.985,0.48,4.155)])
R(sky130_fd_sc_hvl__fill_1, mcon, [(0.155,-0.085,0.325,0.085), (0.155,-0.085,0.325,0.085), (0.155,3.985,0.325,4.155), (0.155,3.985,0.325,4.155)])
R(sky130_fd_sc_hvl__fill_1, met1_pin, [(0,0,0.48,0.115), (0,0,0.48,0.115), (0,0.255,0.48,0.625), (0,3.445,0.48,3.815), (0,3.955,0.48,4.07), (0,3.955,0.48,4.07)])
R(sky130_fd_sc_hvl__fill_1, met1, [(0,-0.115,0.48,0.115), (0,0.255,0.48,0.625), (0,3.445,0.48,3.815), (0,3.955,0.48,4.185)])
R(sky130_fd_sc_hvl__fill_1, hvi, [(-0.33,-0.265,0.81,4.485)])
R(sky130_fd_sc_hvl__fill_1, stdcell_id, [(0,0,0.48,4.07)])
R(sky130_fd_sc_hvl__fill_1, nsdm, [(0,0.215,0.48,1.885), (-0.13,3.855,0.61,4.285), (0,3.855,0.48,4.07)])
R(sky130_fd_sc_hvl__fill_1, psdm, [(-0.13,-0.215,0.61,0.215), (0,1.885,0.48,3.855)])
R(sky130_fd_sc_hvl__fill_1, hvntm, [(-0.11,0.35,0.59,1.64)])
R(sky130_fd_sc_hvl__fill_1, boundary2, [(0,0,0.48,4.07)])
sky130_fd_sc_hvl__fill_1.add(gdstk.Label('fill_1', (0,0), layer=83, texttype=44))
sky130_fd_sc_hvl__fill_1.add(gdstk.Label('VNB', (0.24,0.058), layer=68, texttype=5))
sky130_fd_sc_hvl__fill_1.add(gdstk.Label('VNB', (0.24,0.058), layer=68, texttype=5))
sky130_fd_sc_hvl__fill_1.add(gdstk.Label('VPWR', (0.24,3.63), layer=68, texttype=5))
sky130_fd_sc_hvl__fill_1.add(gdstk.Label('VPB', (0.24,4.013), layer=68, texttype=5))
sky130_fd_sc_hvl__fill_1.add(gdstk.Label('VPB', (0.24,4.013), layer=68, texttype=5))
sky130_fd_sc_hvl__fill_1.add(gdstk.Label('VGND', (0.24,0.44), layer=68, texttype=5))

sky130_fd_pr__diode_pw2n = lib.new_cell('sky130_fd_pr__diode_pw2nd_05v5_4AXGXB')
R(sky130_fd_pr__diode_pw2n, diff, [(-0.225,-0.225,0.225,0.225)])
R(sky130_fd_pr__diode_pw2n, tap, [(-0.735,-0.735,0.735,-0.565), (-0.735,-0.565,-0.565,0.565), (0.565,-0.565,0.735,0.565), (-0.735,0.565,0.735,0.735)])
R(sky130_fd_pr__diode_pw2n, licon, [(-0.255,-0.735,-0.085,-0.565), (0.085,-0.735,0.255,-0.565), (-0.735,-0.255,-0.565,-0.085), (0.565,-0.255,0.735,-0.085), (-0.085,-0.085,0.085,0.085), (-0.735,0.085,-0.565,0.255), (0.565,0.085,0.735,0.255), (-0.255,0.565,-0.085,0.735), (0.085,0.565,0.255,0.735)])
R(sky130_fd_pr__diode_pw2n, li1, [(-0.735,-0.735,0.735,-0.565), (-0.735,-0.565,-0.565,0.565), (0.565,-0.565,0.735,0.565), (-0.245,-0.165,0.245,0.165), (-0.735,0.565,0.735,0.735)])
R(sky130_fd_pr__diode_pw2n, mcon, [(0.565,-0.265,0.735,-0.095), (-0.085,-0.085,0.085,0.085), (0.565,0.095,0.735,0.265), (-0.265,0.565,-0.095,0.735), (0.095,0.565,0.265,0.735)])
R(sky130_fd_pr__diode_pw2n, met1, [(0.535,-0.4,0.765,0.4), (-0.225,-0.195,0.225,0.195), (-0.4,0.535,0.4,0.765)])
R(sky130_fd_pr__diode_pw2n, diode_id, [(-0.225,-0.225,0.225,0.225)])
R(sky130_fd_pr__diode_pw2n, nsdm, [(-0.35,-0.35,0.35,0.35)])
R(sky130_fd_pr__diode_pw2n, psdm, [(-0.86,-0.86,0.86,-0.44), (-0.86,-0.44,-0.44,0.44), (0.44,-0.44,0.86,0.44), (-0.86,0.44,0.86,0.86)])
R(sky130_fd_pr__diode_pw2n, boundary, [(-0.65,-0.65,0.65,0.65)])

level_shifter = lib.new_cell('level_shifter')
R(level_shifter, li1, [(12.035,0.84,12.265,1.725), (15.755,1.205,19.84,1.38), (2.405,1.52,2.715,2.19), (10.635,1.57,11.49,1.835), (14.225,1.57,15.525,1.835), (15.755,2.01,19.84,2.185), (10.12,5.475,10.36,6.805), (15.625,5.925,21.26,6.1), (14.18,6.03,15.29,6.29), (13.715,6.29,15.29,6.345), (13.715,6.345,20.455,6.52), (11.485,6.38,12.57,6.55), (13.715,6.52,15.29,6.55), (15.625,6.73,21.26,6.905)])
A(level_shifter, mcon, 15.91, 1.205, 0.17, 0.17, 11, 2, 0.36, 0.805)
A(level_shifter, mcon, 14.25, 1.615, 0.17, 0.17, 4, 1, 0.36, 0)
A(level_shifter, mcon, 10.155, 5.515, 0.17, 0.17, 1, 4, 0, 0.36)
A(level_shifter, mcon, 15.655, 5.925, 0.17, 0.17, 16, 2, 0.36, 0.805)
A(level_shifter, mcon, 13.99, 6.345, 0.17, 0.17, 18, 1, 0.36, 0)
A(level_shifter, mcon, 11.58, 6.38, 0.17, 0.17, 3, 1, 0.36, 0)
R(level_shifter, mcon, [(12.065,1.015,12.235,1.185), (12.065,1.375,12.235,1.545), (2.475,1.59,2.645,1.76), (10.79,1.615,10.96,1.785), (11.15,1.615,11.32,1.785), (2.475,1.95,2.645,2.12)])
R(level_shifter, met1, [(6.74,-0.125,8.635,0.105), (-0.09,0.105,21.51,0.245), (6.74,0.245,8.635,0.615), (13.49,0.595,13.815,2.45), (12.005,0.78,12.295,0.795), (11.98,0.795,12.3,1.785), (15.695,1.175,21.84,1.41), (10.08,1.32,10.4,1.54), (19.57,1.41,21.84,1.98), (2.345,1.46,2.775,1.715), (10.08,1.54,11.54,1.87), (14.165,1.54,15.585,1.865), (-0.085,1.715,9.265,2.005), (10.08,1.87,10.4,2.355), (15.695,1.98,21.84,2.215), (2.345,2.005,2.775,2.25), (8.975,2.005,9.265,2.565), (13.49,2.45,24.09,2.77), (8.975,2.565,13.135,2.855), (23.74,2.77,24.09,4.05), (-0.09,2.795,2.61,3.295), (12.845,2.855,13.135,2.965), (12.845,2.965,23.475,3.255), (23.185,3.255,23.475,3.69), (3.795,3.435,5.69,3.805), (17.795,3.435,19.69,3.805), (-0.09,3.805,21.51,4.315), (22.92,4.05,24.09,4.37), (3.795,4.315,5.69,4.685), (17.795,4.315,19.69,4.685), (10.09,5.415,10.39,6.865), (15.62,5.87,17.225,5.895), (15.565,5.895,21.84,6.13), (15.62,6.13,17.225,6.16), (21.005,6.13,21.84,6.7), (11.325,6.315,12.925,6.605), (13.745,6.315,20.525,6.55), (15.565,6.7,21.84,6.935), (6.74,7.505,8.635,7.875), (-0.09,7.875,21.51,8.015), (6.74,8.015,8.635,8.245)])
A(level_shifter, via, 6.81, 0.285, 0.15, 0.15, 6, 2, 0.32, 7.4)
A(level_shifter, via, 12.065, 0.885, 0.15, 0.15, 1, 3, 0, 0.32)
A(level_shifter, via, 10.165, 1.44, 0.15, 0.15, 1, 3, 0, 0.32)
A(level_shifter, via, 14.32, 1.63, 0.15, 0.15, 4, 1, 0.32, 0)
A(level_shifter, via, 1.275, 2.97, 0.15, 0.15, 4, 1, 0.32, 0)
A(level_shifter, via, 3.865, 3.505, 0.15, 0.15, 6, 4, 0.32, 0.32)
A(level_shifter, via, 17.865, 3.505, 0.15, 0.15, 6, 4, 0.32, 0.32)
A(level_shifter, via, 10.165, 5.585, 0.15, 0.15, 1, 4, 0, 0.32)
A(level_shifter, via, 15.71, 5.94, 0.15, 0.15, 5, 1, 0.32, 0)
A(level_shifter, via, 11.41, 6.385, 0.15, 0.15, 5, 1, 0.32, 0)
R(level_shifter, met2, [(6.74,-0.25,8.635,8.345), (1.1,-0.225,2.565,8.345), (3.795,-0.225,5.69,8.345), (17.795,-0.225,19.69,8.345), (12.01,0.765,12.27,6.315), (10.11,1.32,10.37,6.835), (14.185,1.56,15.565,1.85), (15.035,1.85,15.49,4.855), (15.035,4.855,16.145,5.31), (15.69,5.31,16.145,5.87), (15.62,5.87,17.225,6.16), (11.325,6.315,12.925,6.605)])
R(level_shifter, hvi, [(12.905,0.41,13.08,1.875), (10.505,6.245,10.565,7.71), (14.345,6.245,14.52,7.71)])
R(level_shifter, nsdm, [(12.845,0.57,13.14,1.445), (10.445,6.72,10.625,7.72), (14.285,6.72,14.58,7.55)])
R(level_shifter, psdm, [(10.445,4.29,10.625,6.04)])
R(level_shifter, hvntm, [(12.905,0.51,13.08,1.505), (10.505,6.66,10.565,7.78), (14.345,6.66,14.52,7.61)])
level_shifter.add(gdstk.Reference(sky130_fd_sc_hvl__lsbufl, (-0.09,-0.01)))
level_shifter.add(gdstk.Reference(sky130_fd_sc_hvl__inv_8, (12.87,-0.01)))
level_shifter.add(gdstk.Reference(sky130_fd_sc_hvl__inv_8, (14.31,8.13), x_reflection=True))
level_shifter.add(gdstk.Reference(sky130_fd_sc_hvl__inv_4, (10.47,8.13), x_reflection=True))
level_shifter.add(gdstk.Reference(sky130_fd_sc_hvl__inv_2, (10.47,-0.01)))
level_shifter.add(gdstk.Reference(sky130_fd_sc_hvl__fill_2, (20.07,-0.01)))
level_shifter.add(gdstk.Reference(sky130_fd_sc_hvl__fill_1, (21.03,-0.01)))
level_shifter.add(gdstk.Reference(sky130_fd_pr__diode_pw2n, (23.32,3.605)))
level_shifter.add(gdstk.Label('bit_in', (0.97,1.86), layer=68, texttype=5))
level_shifter.add(gdstk.Label('dvdd', (0.87,3.045), layer=68, texttype=5))
level_shifter.add(gdstk.Label('avdd', (4.69,5.195), layer=69, texttype=5))
level_shifter.add(gdstk.Label('agnd', (7.54,6.96), layer=69, texttype=5))
level_shifter.add(gdstk.Label('avdd', (18.69,5.195), layer=69, texttype=5))
level_shifter.add(gdstk.Label('bit_out', (21.435,1.655), layer=68, texttype=5))
level_shifter.add(gdstk.Label('bitb_out', (21.38,6.43), layer=68, texttype=5))

level_shifter_array = lib.new_cell('level_shifter_array')
r = gdstk.Reference(level_shifter, (0.305,0.2)); r.repetition = gdstk.Repetition(1, 8, v1=(0.555,0), v2=(0,8.14)); level_shifter_array.add(r)

lib.write_gds('level_shifter_array.gds')
